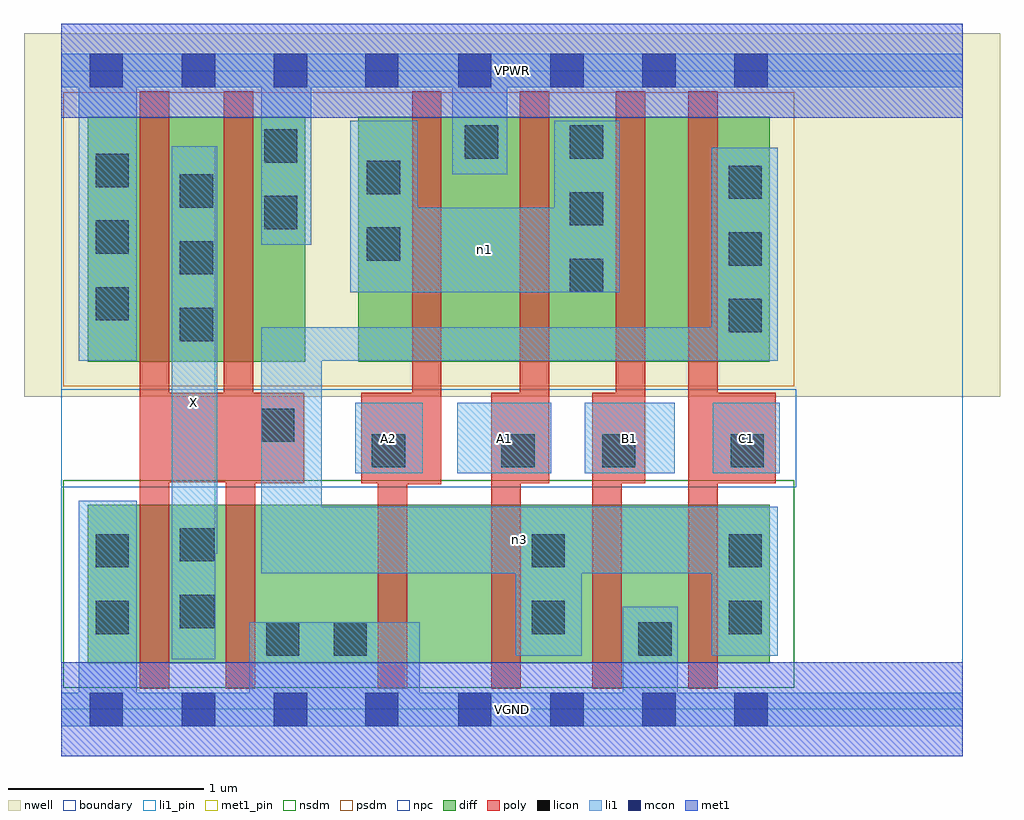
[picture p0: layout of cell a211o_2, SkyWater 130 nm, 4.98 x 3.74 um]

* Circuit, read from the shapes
.subckt a211o_2 A1 A2 B1 C1 VGND VPWR X n1 n3
XM1 X n3 VGND VSUBS sky130_fd_pr__nfet_01v8 w=0.81 l=0.15 m=2
XM2 n2 A2 VGND VSUBS sky130_fd_pr__nfet_01v8 w=0.81 l=0.15
XM3 n3 A1 n2 VSUBS sky130_fd_pr__nfet_01v8 w=0.81 l=0.15
XM4 VGND B1 n3 VSUBS sky130_fd_pr__nfet_01v8 w=0.81 l=0.15
XM5 n3 C1 VGND VSUBS sky130_fd_pr__nfet_01v8 w=0.81 l=0.15
XM6 X n3 VPWR n4 sky130_fd_pr__pfet_01v8 w=1.25 l=0.15 m=2
XM7 VPWR A2 n1 n4 sky130_fd_pr__pfet_01v8 w=1.25 l=0.15
XM8 n1 A1 VPWR n4 sky130_fd_pr__pfet_01v8 w=1.25 l=0.15
XM9 n5 B1 n1 n4 sky130_fd_pr__pfet_01v8 w=1.25 l=0.15
XM10 n3 C1 n5 n4 sky130_fd_pr__pfet_01v8 w=1.25 l=0.15
.ends

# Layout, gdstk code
import gdstk
lib = gdstk.Library(unit=1e-6, precision=1e-09)
def R(c, l, rs):  # rectangles x0, y0, x1, y1
    for r in rs: c.add(gdstk.rectangle(r[:2], r[2:], *l))
def A(c, l, x, y, w, h, nx, ny, dx, dy):  # array of equal rectangles
    R(c, l, [(x+i*dx, y+j*dy, x+i*dx+w, y+j*dy+h) for i in range(nx) for j in range(ny)])
nwell = (64, 20)
diff = (65, 20)
poly = (66, 20)
licon = (66, 44)
li1_pin = (67, 16)
li1 = (67, 20)
mcon = (67, 44)
met1_pin = (68, 16)
met1 = (68, 20)
nsdm = (93, 44)
psdm = (94, 20)
npc = (95, 20)
boundary = (235, 4)

a211o_2 = lib.new_cell('a211o_2')
R(a211o_2, nwell, [(-0.19,1.595,4.79,3.45), (0,1.595,4.6,3.45)])
R(a211o_2, diff, [(0.135,0.235,3.615,1.045), (0.135,1.775,1.245,3.025), (1.515,1.775,3.615,3.025)])
R(a211o_2, poly, [(0.4,0.105,0.55,3.155), (0.84,0.105,0.99,1.615), (1.615,0.105,1.765,1.615), (2.195,0.105,2.345,1.615), (2.71,0.105,2.86,1.615), (3.2,0.105,3.35,3.155), (1.615,1.15,1.94,1.615), (1.79,1.15,1.94,3.155), (0.84,1.155,1.24,1.615), (1.53,1.155,1.94,1.615), (2.34,1.155,2.49,3.155), (2.83,1.155,2.98,3.155), (3.2,1.155,3.645,1.615), (0.4,1.16,1.24,1.615), (0.83,1.16,0.98,3.155)])
A(a211o_2, licon, 0.605, 1.88, 0.17, 0.17, 1, 3, 0, 0.34)
A(a211o_2, licon, 3.405, 1.925, 0.17, 0.17, 1, 3, 0, 0.34)
A(a211o_2, licon, 0.175, 1.985, 0.17, 0.17, 1, 3, 0, 0.34)
A(a211o_2, licon, 2.595, 2.13, 0.17, 0.17, 1, 3, 0, 0.34)
R(a211o_2, licon, [(1.045,0.275,1.215,0.445), (1.39,0.275,1.56,0.445), (2.945,0.275,3.115,0.445), (0.175,0.385,0.345,0.555), (2.4,0.385,2.57,0.555), (3.405,0.385,3.575,0.555), (0.605,0.415,0.775,0.585), (0.61,0.415,0.78,0.585), (0.175,0.725,0.345,0.895), (2.4,0.725,2.57,0.895), (3.405,0.725,3.575,0.895), (0.605,0.755,0.775,0.925), (0.61,0.755,0.78,0.925), (1.585,1.235,1.755,1.405), (2.245,1.235,2.415,1.405), (2.76,1.235,2.93,1.405), (3.415,1.235,3.585,1.405), (1.02,1.365,1.19,1.535), (1.56,2.29,1.73,2.46), (1.035,2.45,1.205,2.62), (1.56,2.63,1.73,2.8), (1.035,2.79,1.205,2.96), (2.06,2.81,2.23,2.98)])
R(a211o_2, li1_pin, [(0.565,0.255,0.785,2.875), (1.5,1.205,1.845,1.565), (2.02,1.205,2.5,1.565), (2.67,1.205,3.13,1.565), (3.325,1.205,3.665,1.565)])
R(a211o_2, li1, [(0,-0.085,4.6,0.085), (0.09,-0.085,0.385,1.065), (0.96,-0.085,1.83,0.445), (2.865,-0.085,3.145,0.525), (0.565,0.255,0.785,2.875), (2.32,0.275,2.655,1.035), (3.32,0.275,3.655,1.035), (1.02,0.695,3.655,1.035), (1.02,0.695,1.33,1.95), (0.565,0.795,0.795,2.875), (1.5,1.205,1.845,1.565), (2.02,1.205,2.5,1.565), (2.67,1.205,3.13,1.565), (3.325,1.205,3.665,1.565), (0.09,1.78,0.385,3.345), (1.02,1.78,3.655,1.95), (3.32,1.78,3.655,2.865), (1.475,2.13,2.85,2.56), (1.475,2.13,1.82,3.005), (2.515,2.13,2.85,3.005), (1.02,2.37,1.275,3.345), (1.995,2.73,2.275,3.345), (0,3.175,4.6,3.345)])
A(a211o_2, mcon, 0.145, -0.085, 0.17, 0.17, 3, 2, 0.47, 3.26)
A(a211o_2, mcon, 2.025, -0.085, 0.17, 0.17, 4, 2, 0.47, 3.26)
R(a211o_2, mcon, [(1.55,-0.085,1.72,0.085), (1.55,3.175,1.72,3.345)])
R(a211o_2, met1_pin, [(0,-0.24,4.6,0.24), (0,3.02,4.6,3.5)])
R(a211o_2, met1, [(0,-0.24,4.6,0.24), (0,3.02,4.6,3.5)])
R(a211o_2, nsdm, [(0.01,0.11,3.74,1.17)])
R(a211o_2, psdm, [(0.01,1.65,3.74,3.15)])
R(a211o_2, npc, [(0,1.135,3.75,1.635)])
R(a211o_2, boundary, [(0,0,4.6,3.26)])
a211o_2.add(gdstk.Label('A1', (2.26,1.385), layer=67, texttype=5))
a211o_2.add(gdstk.Label('A2', (1.672,1.385), layer=67, texttype=5))
a211o_2.add(gdstk.Label('B1', (2.9,1.385), layer=67, texttype=5))
a211o_2.add(gdstk.Label('C1', (3.495,1.385), layer=67, texttype=5))
a211o_2.add(gdstk.Label('X', (0.675,1.565), layer=67, texttype=5))
a211o_2.add(gdstk.Label('n3', (2.337,0.865), layer=67, texttype=5))
a211o_2.add(gdstk.Label('n1', (2.162,2.345), layer=67, texttype=5))
a211o_2.add(gdstk.Label('VPWR', (2.3,3.26), layer=68, texttype=5))
a211o_2.add(gdstk.Label('VGND', (2.3,0), layer=68, texttype=5))
a211o_2.add(gdstk.Label('A1', (2.26,1.385), layer=67, texttype=16))
a211o_2.add(gdstk.Label('A2', (1.672,1.385), layer=67, texttype=16))
a211o_2.add(gdstk.Label('B1', (2.9,1.385), layer=67, texttype=16))
a211o_2.add(gdstk.Label('C1', (3.495,1.385), layer=67, texttype=16))
a211o_2.add(gdstk.Label('X', (0.675,1.565), layer=67, texttype=16))
a211o_2.add(gdstk.Label('VPWR', (2.3,3.26), layer=68, texttype=16))
a211o_2.add(gdstk.Label('VGND', (2.3,0), layer=68, texttype=16))

lib.write_gds('a211o_2.gds')
